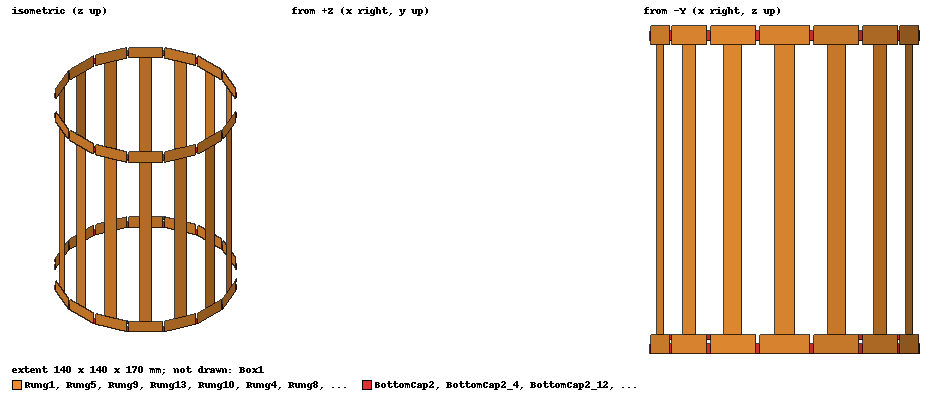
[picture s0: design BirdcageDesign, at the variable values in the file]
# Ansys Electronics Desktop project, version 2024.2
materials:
  vacuum: permittivity=1

design BirdcageDesign (HFSS, HFSS Terminal Network, model units mm)
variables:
  coil_radius = 70mm
  coil_height = 150mm
  rung_width = 10mm
  end_ring_width = 20mm
  num_rungs = 16
  end_ring_cap_gap = 2mm
  Segment_length1 = (2*pi*coil_radius/num_rungs) - end_ring_cap_gap
  ring_height = 10mm
  cap = 73.25pF
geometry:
  Rung1 = rectangle(corner=(coil_radius, -rung_width/2, -coil_height/2), y_size=rung_width, z_size=coil_height)
  TopRing1 = rectangle(corner=(coil_radius, -Segment_length1/2, coil_height/2), y_size=Segment_length1, z_size=ring_height)
  Rectangle2_1 = TopRing1.duplicate_along_line(step=(0mm, 0mm, -coil_height), total=2)
  Rectangle2_1.move(0mm, 0mm, -10mm)
  Rung2..Rung16 = Rung1.duplicate_around_axis(axis=Z, angle=22.5deg, total=16)
  Rectangle2_2..Rectangle2_16 = TopRing1.duplicate_around_axis(axis=Z, angle=22.5deg, total=16)
  Rectangle2_1_1..Rectangle2_1_15 = Rectangle2_1.duplicate_around_axis(axis=Z, angle=22.5deg, total=16)
  TopCap1 = polyline(xyz in mm: (58.509174, -40.485775, 85) (59.794471, -38.562193, 85) (59.794471, -38.562193, 75) (58.509174, -40.485775, 75) (58.509174, -40.485775, 85), closed, covered)
  TopCap1.scale(1, 1, 0.5)
  TopCap1.move(0mm, 0mm, 37.5mm)
  Box1 [vacuum] = box(corner=(0mm, 0mm, 0mm), size=(600mm, 600mm, 600mm))
  Box1.move(0mm, 0mm, -150mm)
  Box1.move(0mm, 0mm, 0mm)
  Box1.move(-350mm, -200mm, 0mm)
  Box1.move(0mm, 0mm, -300mm)
  Box1.move(0mm, 0mm, 150mm)
  Port1 = polyline(xyz in mm: (38.562193, -59.794471, -77.5) (40.485775, -58.509174, -77.5) (40.485775, -58.509174, -75) (38.562193, -59.794471, -75) (38.562193, -59.794471, -77.5), closed, covered)
  Port2, Port3, Port4 = Port1.duplicate_around_axis(axis=Z, angle=90deg, total=4)
  BottomCap1 = TopCap1.duplicate_along_line(step=(0mm, 0mm, -159.95811mm), total=2)
  TopCap1.delete()
  BottomCap2 = BottomCap1.duplicate_around_axis(axis=Z, angle=22.5deg, total=16)  # copies kept: 1
  BottomCap1.delete()
  BottomCap2_1..BottomCap2_15 = BottomCap2.duplicate_around_axis(axis=Z, angle=22.5deg, total=16)
  BottomCap2_16 = BottomCap2.duplicate_along_line(step=(0mm, 0mm, 162.17209mm), total=2)
  BottomCap2_16_1..BottomCap2_16_15 = BottomCap2_16.duplicate_around_axis(axis=Z, angle=22.5deg, total=16)
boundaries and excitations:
  PerfE1: Perfect E Objects=[Rung1..Rung9, Rung11, Rung10, Rung12..Rung16, TopRing1, Rectangle2_1, Rectangle2_1_1..Rectangle2_1_15, Rectangle2_2, Rectangle2_5, Rectangle2_6, Rectangle2_7, Rectangle2_3, Rectangle2_4, Rectangle2_8..Rectangle2_16]
  Rad1: Radiation Objects=Box1
  LumpRLC1: Lumped RLC Objects=[BottomCap2, BottomCap2_1..BottomCap2_16, BottomCap2_16_2, BottomCap2_16_1, BottomCap2_16_3..BottomCap2_16_15] CurrentLine{(38.562193, -59.794471, 80) -> (40.485775, -58.509174, 79.713975)} RLC_Type=Serial Capacitance=cap
  Port1: Lumped Port Objects=Port1 LumpedPortType=Modal Modes{Mode1{IntLine{(38.562193, -59.794471, -76.25) -> (40.485775, -58.509174, -76.25)} CharImp=Zpi RenormImp=50ohm}} Impedance=50ohm
  Port2: Lumped Port Objects=Port2 LumpedPortType=Modal Modes{Mode1{IntLine{(59.794471, 38.562193, -76.25) -> (58.509174, 40.485775, -76.25)} CharImp=Zpi RenormImp=50ohm}} Impedance=50ohm
  Port3: Lumped Port Objects=Port3 LumpedPortType=Modal Modes{Mode1{IntLine{(-38.562193, 59.794471, -76.25) -> (-40.485775, 58.509174, -76.25)} CharImp=Zpi RenormImp=50ohm}} Impedance=50ohm
  Port4: Lumped Port Objects=Port4 LumpedPortType=Modal Modes{Mode1{IntLine{(-59.794471, -38.562193, -76.25) -> (-58.509174, -40.485775, -76.25)} CharImp=Zpi RenormImp=50ohm}} Impedance=50ohm
  1: Lumped Port Objects=BottomCap2 LumpedPortType=Modal Modes{Mode1{IntLine{(69.548664, -15.013487, -82.458114) -> (70, -12.744468, -82.458114)} CharImp=Zpi}} Impedance=50ohm
  2: Lumped Port Objects=BottomCap2_1 LumpedPortType=Modal Modes{Mode1{IntLine{(70, 12.744468, -82.458114) -> (69.548664, 15.013487, -82.458114)} CharImp=Zpi}} Impedance=50ohm
  3: Lumped Port Objects=BottomCap2_2 LumpedPortType=Modal Modes{Mode1{IntLine{(59.794471, 38.562193, -82.458114) -> (58.509174, 40.485775, -82.458114)} CharImp=Zpi}} Impedance=50ohm
  4: Lumped Port Objects=BottomCap2_3 LumpedPortType=Modal Modes{Mode1{IntLine{(40.485775, 58.509174, -82.458114) -> (38.562193, 59.794471, -82.458114)} CharImp=Zpi}} Impedance=50ohm
  5: Lumped Port Objects=BottomCap2_4 LumpedPortType=Modal Modes{Mode1{IntLine{(15.013487, 69.548664, -82.458114) -> (12.744468, 70, -82.458114)} CharImp=Zpi}} Impedance=50ohm
  6: Lumped Port Objects=BottomCap2_5 LumpedPortType=Modal Modes{Mode1{IntLine{(-12.744468, 70, -82.458114) -> (-15.013487, 69.548664, -82.458114)} CharImp=Zpi}} Impedance=50ohm
  7: Lumped Port Objects=BottomCap2_6 LumpedPortType=Modal Modes{Mode1{IntLine{(-38.562193, 59.794471, -82.458114) -> (-40.485775, 58.509174, -82.458114)} CharImp=Zpi}} Impedance=50ohm
  8: Lumped Port Objects=BottomCap2_7 LumpedPortType=Modal Modes{Mode1{IntLine{(-58.509174, 40.485775, -82.458114) -> (-59.794471, 38.562193, -82.458114)} CharImp=Zpi}} Impedance=50ohm
  9: Lumped Port Objects=BottomCap2_8 LumpedPortType=Modal Modes{Mode1{IntLine{(-69.548664, 15.013487, -82.458114) -> (-70, 12.744468, -82.458114)} CharImp=Zpi}} Impedance=50ohm
  10: Lumped Port Objects=BottomCap2_9 LumpedPortType=Modal Modes{Mode1{IntLine{(-70, -12.744468, -82.458114) -> (-69.548664, -15.013487, -82.458114)} CharImp=Zpi}} Impedance=50ohm
  11: Lumped Port Objects=BottomCap2_10 LumpedPortType=Modal Modes{Mode1{IntLine{(-59.794471, -38.562193, -82.458114) -> (-58.509174, -40.485775, -82.458114)} CharImp=Zpi}} Impedance=50ohm
  12: Lumped Port Objects=BottomCap2_11 LumpedPortType=Modal Modes{Mode1{IntLine{(-40.485775, -58.509174, -82.458114) -> (-38.562193, -59.794471, -82.458114)} CharImp=Zpi}} Impedance=50ohm
  13: Lumped Port Objects=BottomCap2_12 LumpedPortType=Modal Modes{Mode1{IntLine{(-15.013487, -69.548664, -82.458114) -> (-12.744468, -70, -82.458114)} CharImp=Zpi}} Impedance=50ohm
  14: Lumped Port Objects=BottomCap2_13 LumpedPortType=Modal Modes{Mode1{IntLine{(12.744468, -70, -82.458114) -> (15.013487, -69.548664, -82.458114)} CharImp=Zpi}} Impedance=50ohm
  15: Lumped Port Objects=BottomCap2_14 LumpedPortType=Modal Modes{Mode1{IntLine{(38.562193, -59.794471, -82.458114) -> (40.485775, -58.509174, -82.458114)} CharImp=Zpi}} Impedance=50ohm
  16: Lumped Port Objects=BottomCap2_15 LumpedPortType=Modal Modes{Mode1{IntLine{(58.509174, -40.485775, -82.458114) -> (59.794471, -38.562193, -82.458114)} CharImp=Zpi}} Impedance=50ohm
  17: Lumped Port Objects=BottomCap2_16 LumpedPortType=Modal Modes{Mode1{IntLine{(69.548664, -15.013487, 79.713975) -> (70, -12.744468, 79.713975)} CharImp=Zpi}} Impedance=50ohm
  18: Lumped Port Objects=BottomCap2_16_1 LumpedPortType=Modal Modes{Mode1{IntLine{(70, 12.744468, 79.713975) -> (69.548664, 15.013487, 79.713975)} CharImp=Zpi}} Impedance=50ohm
  19: Lumped Port Objects=BottomCap2_16_2 LumpedPortType=Modal Modes{Mode1{IntLine{(59.794471, 38.562193, 79.713975) -> (58.509174, 40.485775, 79.713975)} CharImp=Zpi}} Impedance=50ohm
  20: Lumped Port Objects=BottomCap2_16_3 LumpedPortType=Modal Modes{Mode1{IntLine{(40.485775, 58.509174, 79.713975) -> (38.562193, 59.794471, 79.713975)} CharImp=Zpi}} Impedance=50ohm
  21: Lumped Port Objects=BottomCap2_16_4 LumpedPortType=Modal Modes{Mode1{IntLine{(15.013487, 69.548664, 79.713975) -> (12.744468, 70, 79.713975)} CharImp=Zpi}} Impedance=50ohm
  22: Lumped Port Objects=BottomCap2_16_5 LumpedPortType=Modal Modes{Mode1{IntLine{(-12.744468, 70, 79.713975) -> (-15.013487, 69.548664, 79.713975)} CharImp=Zpi}} Impedance=50ohm
  23: Lumped Port Objects=BottomCap2_16_6 LumpedPortType=Modal Modes{Mode1{IntLine{(-38.562193, 59.794471, 79.713975) -> (-40.485775, 58.509174, 79.713975)} CharImp=Zpi}} Impedance=50ohm
  24: Lumped Port Objects=BottomCap2_16_7 LumpedPortType=Modal Modes{Mode1{IntLine{(-58.509174, 40.485775, 79.713975) -> (-59.794471, 38.562193, 79.713975)} CharImp=Zpi}} Impedance=50ohm
  25: Lumped Port Objects=BottomCap2_16_8 LumpedPortType=Modal Modes{Mode1{IntLine{(-69.548664, 15.013487, 79.713975) -> (-70, 12.744468, 79.713975)} CharImp=Zpi}} Impedance=50ohm
  26: Lumped Port Objects=BottomCap2_16_9 LumpedPortType=Modal Modes{Mode1{IntLine{(-70, -12.744468, 79.713975) -> (-69.548664, -15.013487, 79.713975)} CharImp=Zpi}} Impedance=50ohm
  27: Lumped Port Objects=BottomCap2_16_10 LumpedPortType=Modal Modes{Mode1{IntLine{(-59.794471, -38.562193, 79.713975) -> (-58.509174, -40.485775, 79.713975)} CharImp=Zpi}} Impedance=50ohm
  28: Lumped Port Objects=BottomCap2_16_11 LumpedPortType=Modal Modes{Mode1{IntLine{(-40.485775, -58.509174, 79.713975) -> (-38.562193, -59.794471, 79.713975)} CharImp=Zpi}} Impedance=50ohm
  29: Lumped Port Objects=BottomCap2_16_12 LumpedPortType=Modal Modes{Mode1{IntLine{(-15.013487, -69.548664, 79.713975) -> (-12.744468, -70, 79.713975)} CharImp=Zpi}} Impedance=50ohm
  30: Lumped Port Objects=BottomCap2_16_13 LumpedPortType=Modal Modes{Mode1{IntLine{(12.744468, -70, 79.713975) -> (15.013487, -69.548664, 79.713975)} CharImp=Zpi}} Impedance=50ohm
  31: Lumped Port Objects=BottomCap2_16_14 LumpedPortType=Modal Modes{Mode1{IntLine{(38.562193, -59.794471, 79.713975) -> (40.485775, -58.509174, 79.713975)} CharImp=Zpi}} Impedance=50ohm
  32: Lumped Port Objects=BottomCap2_16_15 LumpedPortType=Modal Modes{Mode1{IntLine{(58.509174, -40.485775, 79.713975) -> (59.794471, -38.562193, 79.713975)} CharImp=Zpi}} Impedance=50ohm
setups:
  Setup1: HfssDriven Frequency=63.8MHz MaxDeltaS=0.02 MaximumPasses=15 MinimumPasses=1 MinimumConvergedPasses=1 PercentRefinement=30 BasisOrder=0 DoLambdaRefine=false PortAccuracy=2 DrivenSolverType="Direct Solver"
    sweep Sweep: 25MHz to 150MHz, 101 points; Type=Interpolating InterpTolerance=0.5 InterpMaxSolns=250 PassivityErrorTolerance=0.0001
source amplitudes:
  Port1:1: 1W 0deg
  Port2:1: 1W 90deg
  Port3:1: 1W 180deg
  Port4:1: 1W 270deg
  1:1, 2:1, 3:1, 4:1, 5:1, 6:1, 7:1, 8:1, 9:1, 10:1, 11:1, 12:1, 13:1, 14:1, 15:1, 16:1, 17:1, 18:1, 19:1, 20:1, 21:1, 22:1, 23:1, 24:1, 25:1, 26:1, 27:1, 28:1, 29:1, 30:1, 31:1, 32:1: 0V 0deg
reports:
  Terminal S Parameter Plot 1: dB(St(1,1)) vs Freq on Setup1 : Sweep

design Circuit2 (Circuit)
options: SParamCircuitDef IntegrationMethod=FFT
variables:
  cap = 73.25pF  # optimise 25pF..75pF
  d_coil_radius = 70mm
  d_coil_height = 150mm
  d_rung_width = 10mm
  d_end_ring_width = 20mm
  d_num_rungs = 16
  d_end_ring_cap_gap = 2mm
  d_Segment_length1 = 2*pi*coil_radius/num_rungs - end_ring_cap_gap
  d_ring_height = 10mm
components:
  S136 = BirdcageDesign6(coil_radius=d_coil_radius coil_height=d_coil_height rung_width=d_rung_width end_ring_width=d_end_ring_width num_rungs=d_num_rungs end_ring_cap_gap=d_end_ring_cap_gap ring_height=d_ring_height)
  cap18 = CAP_(C=cap)
  cap19 = CAP_(C=cap)
  cap20 = CAP_(C=cap)
  cap21 = CAP_(C=cap)
  cap22 = CAP_(C=cap)
  cap23 = CAP_(C=cap)
  cap24 = CAP_(C=cap)
  cap25 = CAP_(C=cap)
  cap26 = CAP_(C=cap)
  cap27 = CAP_(C=cap)
  cap28 = CAP_(C=cap)
  cap29 = CAP_(C=cap)
  cap30 = CAP_(C=cap)
  cap31 = CAP_(C=cap)
  cap1 = CAP_(C=cap)
  cap2 = CAP_(C=cap)
  cap3 = CAP_(C=cap)
  cap4 = CAP_(C=cap)
  cap5 = CAP_(C=cap)
  cap6 = CAP_(C=cap)
  cap7 = CAP_(C=cap)
  cap8 = CAP_(C=cap)
  cap9 = CAP_(C=cap)
  cap10 = CAP_(C=cap)
  cap11 = CAP_(C=cap)
  cap12 = CAP_(C=cap)
  cap13 = CAP_(C=cap)
  cap14 = CAP_(C=cap)
  cap15 = CAP_(C=cap)
  cap16 = CAP_(C=cap)
  cap17 = CAP_(C=cap)
  cap32 = CAP_(C=cap)
  port Port1 rz=50ohm iz=0ohm EnableNoise=false noisetemp=16.85cel
  port Port2 rz=50ohm iz=0ohm EnableNoise=false noisetemp=16.85cel
  port Port3 rz=50ohm iz=0ohm EnableNoise=false noisetemp=16.85cel
  port Port4 rz=50ohm iz=0ohm EnableNoise=false noisetemp=16.85cel
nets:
  0: cap31.1, cap24.1, cap25.1, cap26.1, cap27.1, cap23.1, cap21.1, cap22.1, cap14.0, cap20.1, cap16.0, cap15.0, cap28.1, cap29.1, cap30.1, cap12.0, cap13.0, cap1.0, cap8.0, cap4.0, cap9.0, cap11.0, cap2.0, cap5.0, cap3.0, cap7.0, cap6.0, cap10.0, cap17.0, cap19.1, cap32.0, cap18.1
  net_38: S136.7, cap18.0
  net_39: S136.8, cap19.0
  net_40: S136.9, cap20.0
  net_41: cap21.0, S136.10
  net_42: cap22.0, S136.11
  net_43: cap23.0, S136.12
  net_44: cap24.0, S136.13
  net_45: cap25.0, S136.14
  net_46: cap26.0, S136.15
  net_47: cap27.0, S136.16
  net_48: S136.17, cap28.0
  net_49: S136.18, cap29.0
  net_50: S136.19, cap30.0
  net_51: cap31.0, S136.20
  net_52: S136.0, cap1.1
  net_53: S136.1, cap2.1
  net_54: S136.2, cap3.1
  net_55: S136.3, cap4.1
  net_56: S136.4, cap5.1
  net_57: S136.5, cap6.1
  net_58: S136.6, cap7.1
  net_59: S136.7, cap8.1
  net_60: S136.8, cap9.1
  net_61: S136.9, cap10.1
  net_62: S136.10, cap11.1
  net_63: S136.11, cap12.1
  net_64: S136.1, cap13.1
  net_65: S136.2, cap14.1
  net_66: S136.3, cap15.1
  net_67: S136.4, cap16.1
  net_68: S136.5, cap17.1
  net_69: S136.6, cap32.1
  Port1: S136.21
  Port2: S136.22
  Port3: S136.23
  Port4: S136.24
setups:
  LinearFrequency: LinearFrequencyData(false, 0.1, false, "", false) SweepDefinition{Variable=Freq Data="LINC 50MHz 150MHz 100"}
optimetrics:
  OptimizationSetup1: Optimization UseFastCalculationUpdateAlgo Optimizer="Quasi Newton" AnalysisStopOptions{StopForNumIteration MaxNumIteration=1000 MinNumIteration=10} CostFuncNormType=L2 Acceptable_Cost=0 Noise=0.0001 UpdateDesignWhenDone
    goal dB(S(Port1,Port1)) Minimize -20 weight 1 on LinearFrequency : LinearFrequency at Freq 0.0641414141414141GHz
  ParametricSetup1: Parametric UseFastCalculationUpdateAlgo SaveSolutions Sim._Setups=[LinearFrequency]
    sweep cap: LINC 25pF 150pF 150
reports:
  S Parameter Plot 1: dB(S(Port1,Port1)) vs Freq on LinearFrequency : LinearFrequency [cap=all]; markers m1 at 64.141414MHz
